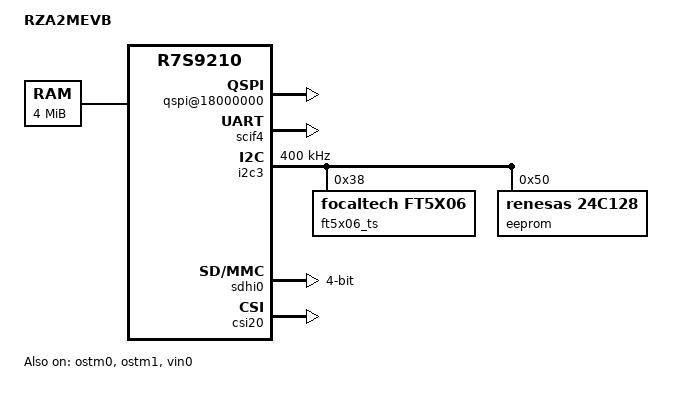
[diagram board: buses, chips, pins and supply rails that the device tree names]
/*
 * Device Tree Source for the RZA2MEVB board
 *
 * Copyright (C) 2018 Renesas Electronics
 *
 * This file is dual-licensed: you can use it either under the terms
 * of the GPL or the X11 license, at your option. Note that this dual
 * licensing only applies to this file, and not this project as a
 * whole.
 *
 *  a) This file is free software; you can redistribute it and/or
 *     modify it under the terms of the GNU General Public License as
 *     published by the Free Software Foundation; either version 2 of the
 *     License, or (at your option) any later version.
 *
 *     This file is distributed in the hope that it will be useful,
 *     but WITHOUT ANY WARRANTY; without even the implied warranty of
 *     MERCHANTABILITY or FITNESS FOR A PARTICULAR PURPOSE.  See the
 *     GNU General Public License for more details.
 *
 * Or, alternatively,
 *
 *  b) Permission is hereby granted, free of charge, to any person
 *     obtaining a copy of this software and associated documentation
 *     files (the "Software"), to deal in the Software without
 *     restriction, including without limitation the rights to use,
 *     copy, modify, merge, publish, distribute, sublicense, and/or
 *     sell copies of the Software, and to permit persons to whom the
 *     Software is furnished to do so, subject to the following
 *     conditions:
 *
 *     The above copyright notice and this permission notice shall be
 *     included in all copies or substantial portions of the Software.
 *
 *     THE SOFTWARE IS PROVIDED "AS IS", WITHOUT WARRANTY OF ANY KIND,
 *     EXPRESS OR IMPLIED, INCLUDING BUT NOT LIMITED TO THE WARRANTIES
 *     OF MERCHANTABILITY, FITNESS FOR A PARTICULAR PURPOSE AND
 *     NONINFRINGEMENT. IN NO EVENT SHALL THE AUTHORS OR COPYRIGHT
 *     HOLDERS BE LIABLE FOR ANY CLAIM, DAMAGES OR OTHER LIABILITY,
 *     WHETHER IN AN ACTION OF CONTRACT, TORT OR OTHERWISE, ARISING
 *     FROM, OUT OF OR IN CONNECTION WITH THE SOFTWARE OR THE USE OR
 *     OTHER DEALINGS IN THE SOFTWARE.
 */


/dts-v1/;
#include "r7s9210.dtsi"
#include <dt-bindings/gpio/gpio.h>

/ {
	model = "RZA2MEVB";
	compatible = "renesas,rza2mevb", "renesas,r7s9210";

	aliases {
		/* It is recommended to always map the serial console as /dev/ttySC0
		 * in you system regardless of the actual SCIF channel used */
		serial0 = &scif4;
	};

	chosen {
		/* Keep extra spaces at the end in case you want to add additional command line options from u-boot */
		//bootargs = "ignore_loglevel earlyprintk earlycon=scif,0xE8009000 rootfstype=axfs root=/dev/null rootflags=physaddr=0x20800000     ";
		//bootargs = "ignore_loglevel earlyprintk                                                                                             ";
		bootargs = "ignore_loglevel earlyprintk rootfstype=axfs root=/dev/null rootflags=physaddr=0x20800000     ";
		stdout-path = "serial0:115200n8";
	};

	memory@80000000 {
		device_type = "memory";
		reg = <0x80000000 0x00400000>;	 /* 4Mbyte of Internal RAM only */
		//reg = <0x40000000 0x00400000>;	 /* 4Mbyte of HyperRAM only */
	};

	lbsc {
		#address-cells = <1>;
		#size-cells = <1>;
	};

#if 0 /* LED (GPIO) as an example */
	leds {
		status = "okay";
		compatible = "gpio-leds";

		led0 {
			gpios = <&port7 1 GPIO_ACTIVE_LOW>;
		};
	};
#endif

#if 1
	/* File System in XIP QSPI */
	/* Remember, we'll be in QSPI XIP mode at this point */
	/* Requires CONFIG_MTD_ROM=y */
	qspi@18000000 {
		compatible = "mtd-rom";
		probe-type = "map_rom";
		reg = <0x20000000 0x4000000>;	/* 64 MB*/
		bank-width = <4>;
		device-width = <1>;

		#address-cells = <1>;
		#size-cells = <1>;

		partition@800000 {
			label ="user";
			reg = <0x0800000 0x1000000>; /* 16MB @ 0x20800000 */
			read-only;
		};
	};
#endif
};

/* EXTAL (remove if not populated) */
&extal_clk {
	clock-frequency = <12000000>;	/* 12MHz */
};

/* RTC_X1 (remove if not populated) */
&rtc_x1_clk {
	clock-frequency = <32768>;
};

/* Define your pin settings here
 *
 */


/* High resolution System tick timers */
&ostm0 {
	status = "okay";
};

&ostm1 {
	status = "okay";
};


/* Serial Console */
&scif4 {
	pinctrl-names = "default";
	//pinctrl-0 = <&scif4_pins>;

	//uart-has-rtscts;	/* uncomment to use RTS/CTS, but you will also need to set up the pins */
	status = "okay";
};


/* RIIC3 (Touchscreen, EEPROM) */
&i2c3 {
	//pinctrl-names = "default";
	status = "okay";
	clock-frequency = <400000>;

	ft5x06_ts@38 {
		compatible = "focaltech,ft5x06";
		reg = <0x38>;

		//pinctrl-names = "default";
		//pinctrl-0 = <&irq1_pins>;
		interrupts = <GIC_SPI (39-32) IRQ_TYPE_LEVEL_LOW>; /* IRQ3 */

		touchscreen-size-x = <800>;
		touchscreen-size-y = <480>;

		/* The touchscreen on the RSK LCD is backwards for some reason */
		touchscreen-inverted-x;
		touchscreen-inverted-y;
	};

	/* Renesas R1EX24128 EEPROM */
	/* 'eeprom' will show up under:
	 * /sys/bus/i2c/devices/3-0050/
	 */
        eeprom@50 {
                compatible = "renesas,24c128", "atmel,24c128";
                reg = <0x50>;
                pagesize = <64>;
        };
};

&sdhi0 {
        pinctrl-names = "default";
        bus-width = <4>;
        status = "okay";
};

&csi20 {
	status = "okay";
/*
*	ports {
*		port@0 {
*			reg = <0>;
*
*			csi40_in: endpoint {
*				clock-lanes = <0>;
*				data-lanes = <1 2>;
*				remote-endpoint = <&adv7482_txa_cp>;
*			};
*		};
	};*/
};

&vin0 {
	status = "okay";
};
